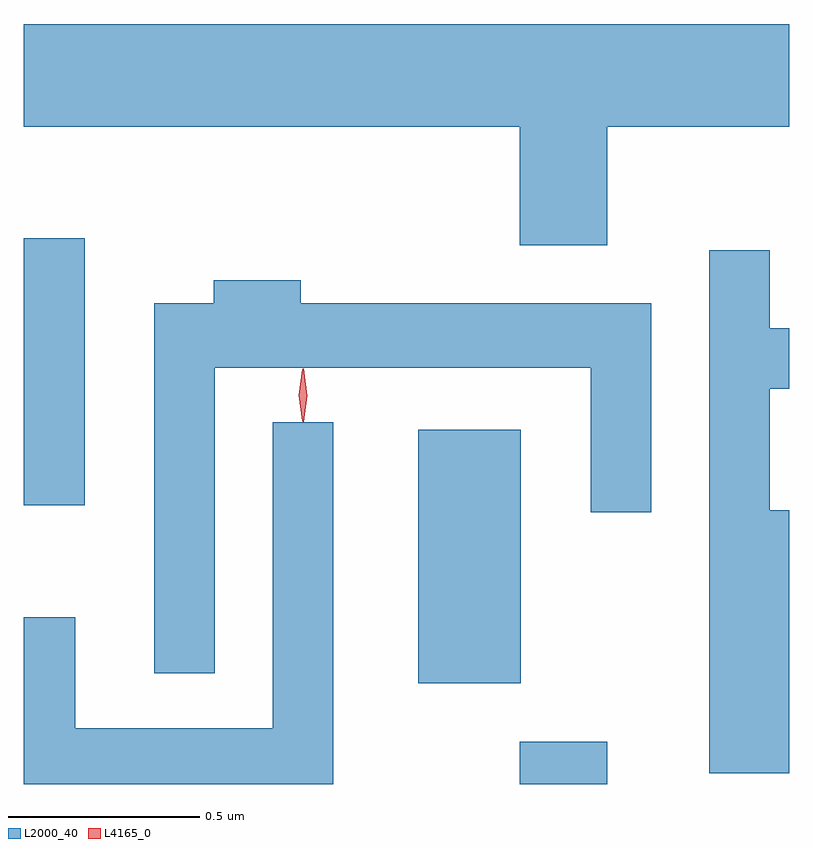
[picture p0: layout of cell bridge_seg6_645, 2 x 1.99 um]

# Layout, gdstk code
import gdstk
lib = gdstk.Library(unit=1e-6, precision=1e-09)
def R(c, l, rs):  # rectangles x0, y0, x1, y1
    for r in rs: c.add(gdstk.rectangle(r[:2], r[2:], *l))
def P(c, l, *ps):  # polygons
    for p in ps: c.add(gdstk.Polygon(p, *l))
L2000_40 = (2000, 40)
L4165_0 = (4165, 0)

bridge_seg6_645 = lib.new_cell('bridge_seg6_645')
R(bridge_seg6_645, L2000_40, [(528.171,1630.458,528.399,1630.569), (527.906,1630.721,528.174,1631.384), (526.875,1631.186,527.034,1631.884)])
P(bridge_seg6_645, L2000_40, [(528.399,1632.176),(528.875,1632.176),(528.875,1632.444),(526.875,1632.444),(526.875,1632.176),(528.171,1632.176),(528.171,1631.866),(528.399,1631.866)],
  [(528.875,1631.174),(528.824,1631.174),(528.824,1631.491),(528.875,1631.491),(528.875,1631.649),(528.824,1631.649),(528.824,1631.853),(528.666,1631.853),(528.666,1630.486),(528.875,1630.486)],
  [(527.374,1631.546),(528.356,1631.546),(528.356,1631.168),(528.514,1631.168),(528.514,1631.714),(527.599,1631.714),(527.599,1631.774),(527.371,1631.774),(527.371,1631.714),(527.216,1631.714),(527.216,1630.748),(527.374,1630.748)],
  [(527.684,1631.403),(527.526,1631.403),(527.526,1630.604),(527.009,1630.604),(527.009,1630.894),(526.875,1630.894),(526.875,1630.458),(527.684,1630.458)])
P(bridge_seg6_645, L4165_0, [(527.603,1631.407),(527.594,1631.474),(527.603,1631.54),(527.604,1631.541),(527.604,1631.54),(527.614,1631.474),(527.604,1631.407),(527.604,1631.407)],
  [(527.604,1631.404),(527.595,1631.473),(527.604,1631.543),(527.605,1631.543),(527.606,1631.543),(527.615,1631.473),(527.606,1631.404),(527.605,1631.404)])

lib.write_gds('bridge_seg6_645.gds')
